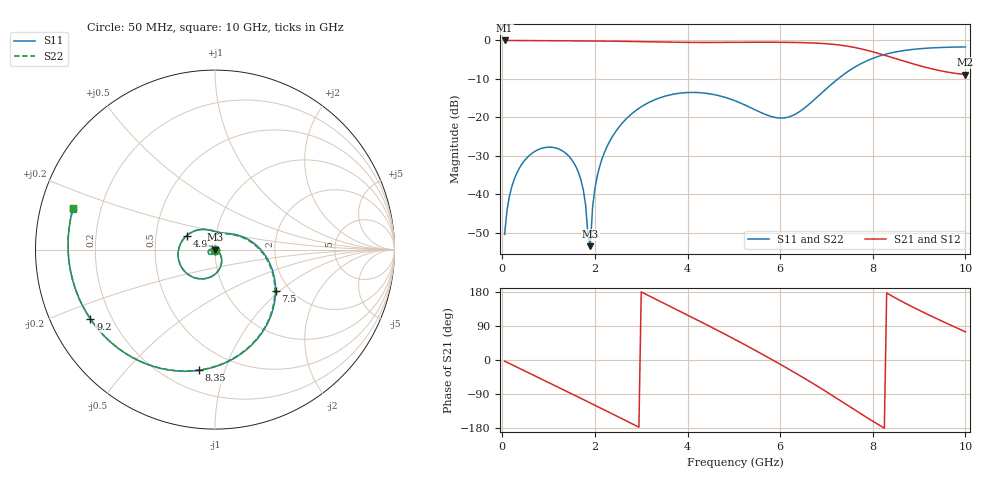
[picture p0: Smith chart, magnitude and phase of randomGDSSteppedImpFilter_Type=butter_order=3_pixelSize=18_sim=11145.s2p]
! freq	dB(S11)	phase(S11)	dB(S12)	phase(S12)
!  dB(S21)	phase(S21)	dB(S22)	phase(S22)
!S-par simulation data
#  GHz  S  DB  R 50
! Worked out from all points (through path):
!   200 points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, 50 MHz to 10 GHz, reference 50 ohm
!   highest |S21| = -0.01 dB at 50 MHz (marker M1); lowest = -8.9 dB at 10 GHz (marker M2)
!   group delay of S21, straight-line fit = 183 ps
!   lowest |S11| = -53.4 dB at 1.9 GHz (marker M3), VSWR 1.00, Z = 50.2 + j0.0157 ohm
!   |S11| at or under -10 dB: start of sweep to 7.247 GHz
!   |S22| runs from -54.0 to -1.7 dB; largest |S21 - S12| = 0
!   S11 on the Smith chart (normalised r, x): 50 MHz: 1.00, -0.01; 4.9 GHz: 0.72, +0.12; 7.5 GHz: 1.70, -0.93; 8.35 GHz: 0.33, -0.82; 9.2 GHz: 0.12, -0.26; 10 GHz: 0.10, +0.14
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0.05  -50.40 -84.0  -0.01 -3.0  -0.01 -3.0  -50.40 -84.0
0.25  -36.33 -102.7  -0.03 -15.0  -0.03 -15.0  -36.33 -102.7
0.7  -28.84 -131.8  -0.06 -41.7  -0.06 -41.7  -28.84 -131.7
1.35  -29.12 -171.5  -0.10 -80.4  -0.10 -80.4  -29.11 -171.2
1.75  -38.89 161.6  -0.13 -104.3  -0.13 -104.3  -38.88 162.9
1.9  -53.44 4.2  -0.14 -113.4  -0.14 -113.4  -54.02 -2.7
1.95  -43.29 -18.6  -0.14 -116.4  -0.14 -116.4  -43.38 -21.4
2  -38.47 -24.9  -0.15 -119.4  -0.15 -119.4  -38.50 -26.5
2.25  -27.88 -43.0  -0.18 -134.6  -0.18 -134.6  -27.89 -43.6
2.85  -18.52 -80.7  -0.28 -171.2  -0.28 -171.2  -18.52 -81.0
3.4  -14.91 -114.6  -0.41 155.2  -0.41 155.2  -14.91 -114.9
4.2  -13.53 -163.3  -0.53 106.2  -0.53 106.2  -13.54 -163.7
4.9  -15.13 153.4  -0.50 62.2  -0.50 62.2  -15.14 152.7
5.05  -15.80 143.8  -0.49 52.5  -0.49 52.5  -15.80 143.0
5.9  -20.03 86.7  -0.47 -4.2  -0.47 -4.2  -20.04 84.5
6.7  -15.79 27.6  -0.66 -61.3  -0.66 -61.3  -15.79 25.7
7.1  -11.47 -3.0  -0.96 -91.7  -0.96 -91.7  -11.47 -4.3
7.5  -7.78 -34.2  -1.59 -123.0  -1.59 -123.0  -7.78 -35.1
7.9  -5.15 -65.0  -2.64 -154.0  -2.64 -154.0  -5.15 -65.7
8.35  -3.37 -97.5  -4.19 173.3  -4.19 173.3  -3.37 -98.0
9.2  -2.00 -150.9  -7.16 119.5  -7.16 119.5  -1.99 -151.2
10  -1.69 163.9  -8.86 74.3  -8.86 74.3  -1.69 163.8
